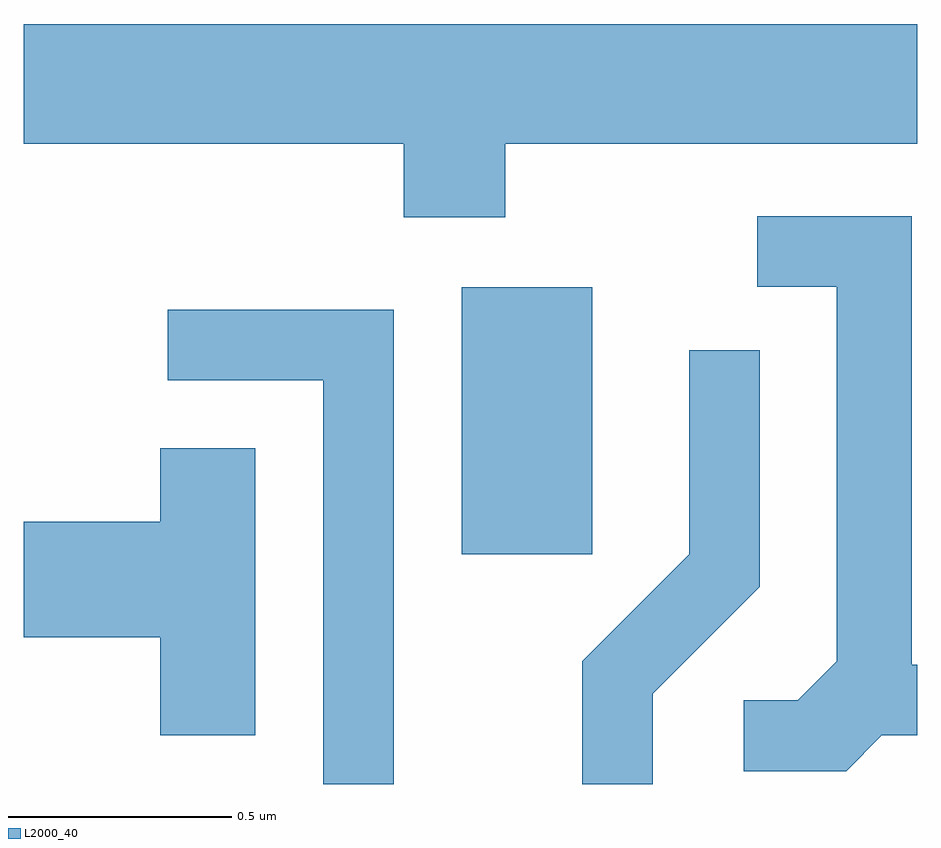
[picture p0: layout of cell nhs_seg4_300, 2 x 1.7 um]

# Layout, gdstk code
import gdstk
lib = gdstk.Library(unit=1e-6, precision=1e-09)
def R(c, l, rs):  # rectangles x0, y0, x1, y1
    for r in rs: c.add(gdstk.rectangle(r[:2], r[2:], *l))
def P(c, l, *ps):  # polygons
    for p in ps: c.add(gdstk.Polygon(p, *l))
L2000_40 = (2000, 40)

nhs_seg4_300 = lib.new_cell('nhs_seg4_300')
R(nhs_seg4_300, L2000_40, [(188.591,1280.496,188.884,1281.094)])
P(nhs_seg4_300, L2000_40, [(188.689,1281.416),(189.611,1281.416),(189.611,1281.684),(187.611,1281.684),(187.611,1281.416),(188.461,1281.416),(188.461,1281.251),(188.689,1281.251)],
  [(189.532,1280.091),(189.611,1280.091),(189.611,1280.249),(189.599,1280.249),(189.599,1281.254),(189.253,1281.254),(189.253,1281.096),(189.431,1281.096),(189.431,1280.257),(189.344,1280.169),(189.223,1280.169),(189.223,1280.011),(189.452,1280.011)],
  [(188.439,1281.044),(187.933,1281.044),(187.933,1280.886),(188.281,1280.886),(188.281,1279.982),(188.439,1279.982)],
  [(189.019,1280.184),(189.259,1280.424),(189.259,1280.953),(189.101,1280.953),(189.101,1280.497),(188.861,1280.257),(188.861,1279.982),(189.019,1279.982)],
  [(188.129,1280.734),(187.916,1280.734),(187.916,1280.569),(187.611,1280.569),(187.611,1280.311),(187.916,1280.311),(187.916,1280.091),(188.129,1280.091)])

lib.write_gds('nhs_seg4_300.gds')
